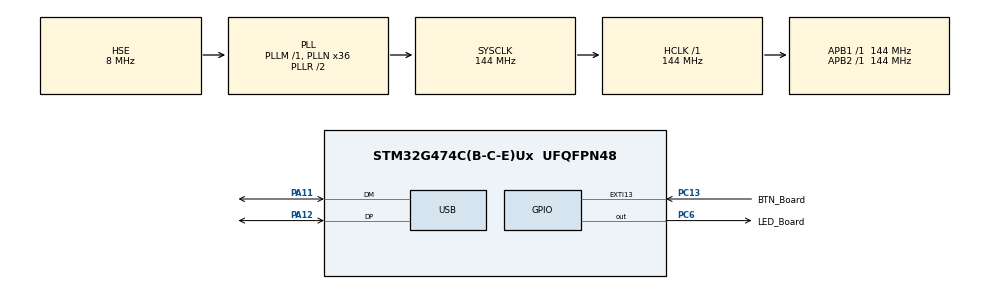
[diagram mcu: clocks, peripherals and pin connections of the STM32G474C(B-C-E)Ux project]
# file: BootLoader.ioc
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Mcu.Family=STM32G4
Mcu.Name=STM32G474C(B-C-E)Ux
Mcu.Package=UFQFPN48
NVIC.EXTI15_10_IRQn=true\:0\:0\:false\:false\:true\:true\:true\:true
NVIC.PriorityGroup=NVIC_PRIORITYGROUP_4
NVIC.USB_LP_IRQn=true\:0\:0\:false\:false\:true\:false\:true\:true
PA11.Mode=Device
PA11.Signal=USB_DM
PA12.Mode=Device
PA12.Signal=USB_DP
PA13.Mode=Serial_Wire
PA13.Signal=SYS_JTMS-SWDIO
PA14.Mode=Serial_Wire
PA14.Signal=SYS_JTCK-SWCLK
PC13.GPIO_Label=BTN_Board
PC13.GPIO_ModeDefaultEXTI=GPIO_MODE_IT_RISING_FALLING
PC13.GPIO_PuPd=GPIO_PULLDOWN
PC13.Signal=GPXTI13
PC6.GPIO_Label=LED_Board
PC6.Signal=GPIO_Output
PF0-OSC_IN.Mode=HSE-External-Oscillator
PF0-OSC_IN.Signal=RCC_OSC_IN
PF1-OSC_OUT.Mode=HSE-External-Oscillator
PF1-OSC_OUT.Signal=RCC_OSC_OUT
ProjectManager.HeapSize=0x200
ProjectManager.StackSize=0x400
ProjectManager.TargetToolchain=STM32CubeIDE
RCC.ADC12Freq_Value=144000000
RCC.ADC345Freq_Value=144000000
RCC.AHBFreq_Value=144000000
RCC.APB1Freq_Value=144000000
RCC.APB1TimFreq_Value=144000000
RCC.APB2Freq_Value=144000000
RCC.APB2TimFreq_Value=144000000
RCC.CortexFreq_Value=144000000
RCC.EXTERNAL_CLOCK_VALUE=12288000
RCC.HCLKFreq_Value=144000000
RCC.HSE_VALUE=8000000
RCC.HSI48_VALUE=48000000
RCC.HSI_VALUE=16000000
RCC.LSE_VALUE=32768
RCC.PLLN=36
RCC.PLLQ=RCC_PLLQ_DIV6
RCC.PLLSourceVirtual=RCC_PLLSOURCE_HSE
RCC.SYSCLKFreq_VALUE=144000000
RCC.SYSCLKSource=RCC_SYSCLKSOURCE_PLLCLK
RCC.USBFreq_Value=48000000
RCC.VCOOutputFreq_Value=288000000
USB_DEVICE.CLASS_NAME_FS=DFU
USB_DEVICE.MANUFACTURER_STRING=MANCO
USB_DEVICE.PRODUCT_STRING_DFU_FS=Firmware Update
USB_DEVICE.USBD_DFU_APP_DEFAULT_ADD=0x08010000
USB_DEVICE.VirtualMode=Dfu
USB_DEVICE.VirtualModeFS=Dfu_FS
VP_SYS_VS_DBSignals.Mode=DisableDeadBatterySignals
VP_USB_DEVICE_VS_USB_DEVICE_DFU_FS.Mode=DFU_FS
board=custom

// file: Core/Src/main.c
/* USER CODE BEGIN Header */
/**
  ******************************************************************************
  * @file           : main.c
  * @brief          : Main program body
  ******************************************************************************
  * @attention
  *
  * Copyright (c) 2026 STMicroelectronics.
  * All rights reserved.
  *
  * This software is licensed under terms that can be found in the LICENSE file
  * in the root directory of this software component.
  * If no LICENSE file comes with this software, it is provided AS-IS.
  *
  ******************************************************************************
  */
/* USER CODE END Header */
#include "main.h"
#include "usb_device.h"
#include "gpio.h"

/* USER CODE BEGIN Includes */
#include <stdio.h>
/* USER CODE END Includes */

/* USER CODE BEGIN PTD */
typedef void (*pFunction)(void);
/* USER CODE END PTD */

/* USER CODE BEGIN PD */
#define DFU_BOOT_FLAG 0xDEADBEEF
/* USER CODE END PD */

/* USER CODE BEGIN PV */
extern int _bflag;
uint32_t *dfu_boot_flag;
pFunction JumpToApplication;
uint32_t JumpAddress;
/* USER CODE END PV */

void SystemClock_Config(void);

/* USER CODE BEGIN 0 */
void HAL_GPIO_EXTI_Callback(uint16_t GPIO_Pin){
	if (GPIO_Pin == BTN_Board_Pin){
		HAL_NVIC_SystemReset();
	}
}
/* USER CODE END 0 */

int main(void)
{

  /* USER CODE BEGIN 1 */
	dfu_boot_flag = (uint32_t *) (&_bflag);

    if (*dfu_boot_flag != DFU_BOOT_FLAG) {

        /* Test if user code is programmed starting from address 0x08008000 */
        if (((*(__IO uint32_t*) USBD_DFU_APP_DEFAULT_ADD) & 0x2FFC0000)
                == 0x20000000) {

            /* Jump to user application */
            JumpAddress = *(__IO uint32_t*) (USBD_DFU_APP_DEFAULT_ADD + 4);
            JumpToApplication = (pFunction) JumpAddress;

            /* Initialize user application's Stack Pointer */
            __set_MSP(*(__IO uint32_t*) USBD_DFU_APP_DEFAULT_ADD);
            JumpToApplication();
        }

    }

    *dfu_boot_flag = 0; // So next boot won't be affected

  /* USER CODE END 1 */

  /* MCU Configuration--------------------------------------------------------*/

  /* Reset of all peripherals, Initializes the Flash interface and the Systick. */
  HAL_Init();

  /* Configure the system clock */
  SystemClock_Config();

  /* Initialize all configured peripherals */
  MX_GPIO_Init();
  MX_USB_Device_Init();
  /* USER CODE BEGIN 2 */

  printf("\n\n\n\n--------\nStarting\n");

  /* USER CODE END 2 */

  /* Infinite loop */
  /* USER CODE BEGIN WHILE */
  uint32_t now = 0, next_blink = 100;
  while (1)
  {
	  now = uwTick;
	  if  (now >= next_blink){
		 HAL_GPIO_TogglePin(LED_Board_GPIO_Port,LED_Board_Pin);
		 next_blink = now+100;
	  }
    /* USER CODE END WHILE */

  }
}

void SystemClock_Config(void)
{
  RCC_OscInitTypeDef RCC_OscInitStruct = {0};
  RCC_ClkInitTypeDef RCC_ClkInitStruct = {0};

  /** Configure the main internal regulator output voltage
  */
  HAL_PWREx_ControlVoltageScaling(PWR_REGULATOR_VOLTAGE_SCALE1);

  /** Initializes the RCC Oscillators according to the specified parameters
  * in the RCC_OscInitTypeDef structure.
  */
  RCC_OscInitStruct.OscillatorType = RCC_OSCILLATORTYPE_HSE;
  RCC_OscInitStruct.HSEState = RCC_HSE_ON;
  RCC_OscInitStruct.PLL.PLLState = RCC_PLL_ON;
  RCC_OscInitStruct.PLL.PLLSource = RCC_PLLSOURCE_HSE;
  RCC_OscInitStruct.PLL.PLLM = RCC_PLLM_DIV1;
  RCC_OscInitStruct.PLL.PLLN = 36;
  RCC_OscInitStruct.PLL.PLLP = RCC_PLLP_DIV2;
  RCC_OscInitStruct.PLL.PLLQ = RCC_PLLQ_DIV6;
  RCC_OscInitStruct.PLL.PLLR = RCC_PLLR_DIV2;
  if (HAL_RCC_OscConfig(&RCC_OscInitStruct) != HAL_OK)
  {
    Error_Handler();
  }

  /** Initializes the CPU, AHB and APB buses clocks
  */
  RCC_ClkInitStruct.ClockType = RCC_CLOCKTYPE_HCLK|RCC_CLOCKTYPE_SYSCLK
                              |RCC_CLOCKTYPE_PCLK1|RCC_CLOCKTYPE_PCLK2;
  RCC_ClkInitStruct.SYSCLKSource = RCC_SYSCLKSOURCE_PLLCLK;
  RCC_ClkInitStruct.AHBCLKDivider = RCC_SYSCLK_DIV1;
  RCC_ClkInitStruct.APB1CLKDivider = RCC_HCLK_DIV1;
  RCC_ClkInitStruct.APB2CLKDivider = RCC_HCLK_DIV1;

  if (HAL_RCC_ClockConfig(&RCC_ClkInitStruct, FLASH_LATENCY_4) != HAL_OK)
  {
    Error_Handler();
  }
}

void Error_Handler(void)
{
  __disable_irq();
  while (1)
  {
  }
}
